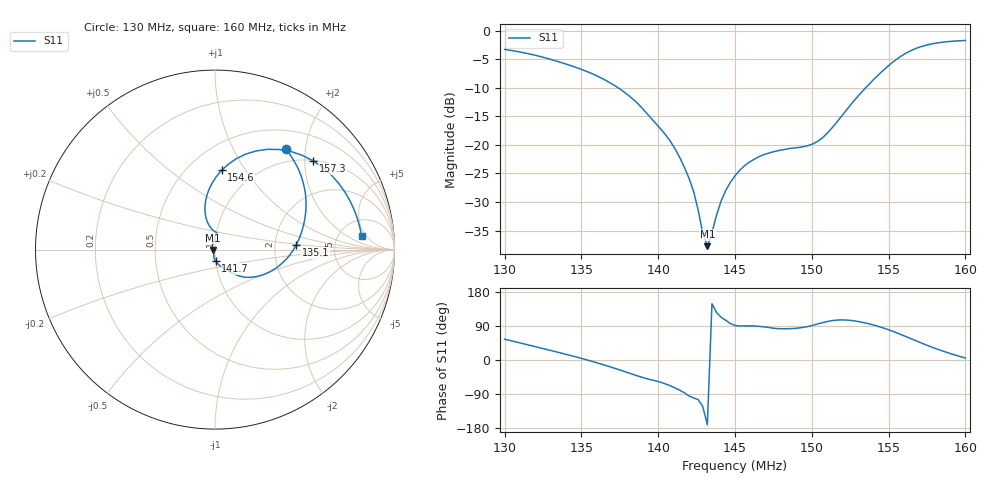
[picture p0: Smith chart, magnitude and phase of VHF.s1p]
# HZ S RI R 50
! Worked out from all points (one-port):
!   101 points, 130 MHz to 160 MHz, reference 50 ohm
!   lowest |S11| = -37.7 dB at 143.2 MHz (marker M1), VSWR 1.03, Z = 48.7 - j0.199 ohm
!   |S11| at or under -10 dB: 137.4 MHz to 153.5 MHz (16.12 MHz wide, 11.1 % of centre)
!   S11 on the Smith chart (normalised r, x): 130 MHz: 0.78, +1.65; 135.1 MHz: 2.64, +0.17; 141.7 MHz: 1.00, -0.13; 154.6 MHz: 0.72, +0.79; 157.3 MHz: 1.01, +2.20; 160 MHz: 8.40, +3.81
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1.3e8  0.3953 0.5596
1.321e8  0.499 0.3398
1.339e8  0.4949 0.142
1.351e8  0.452 0.0253
1.375e8  0.2772 -0.1368
1.387e8  0.1679 -0.1542
1.402e8  0.0697 -0.117
1.414e8  0.0139 -0.0765
1.417e8  0.00391 -0.0638
1.423e8  -0.00679 -0.0386
1.426e8  -0.0067 -0.0261
1.429e8  -0.0091 -0.0143
1.432e8  -0.0128 -0.00204
1.441e8  -0.0125 0.0299
1.45e8  -0.000997 0.0536
1.456e8  8.64e-05 0.0653
1.465e8  0.00133 0.0781
1.489e8  0.0109 0.0934
1.498e8  0.00186 0.099
1.507e8  -0.017 0.1141
1.525e8  -0.0557 0.2146
1.537e8  -0.0335 0.3349
1.546e8  0.0366 0.4415
1.555e8  0.1714 0.5322
1.564e8  0.359 0.5576
1.573e8  0.5466 0.4949
1.585e8  0.723 0.322
1.6e8  0.8173 0.0741
